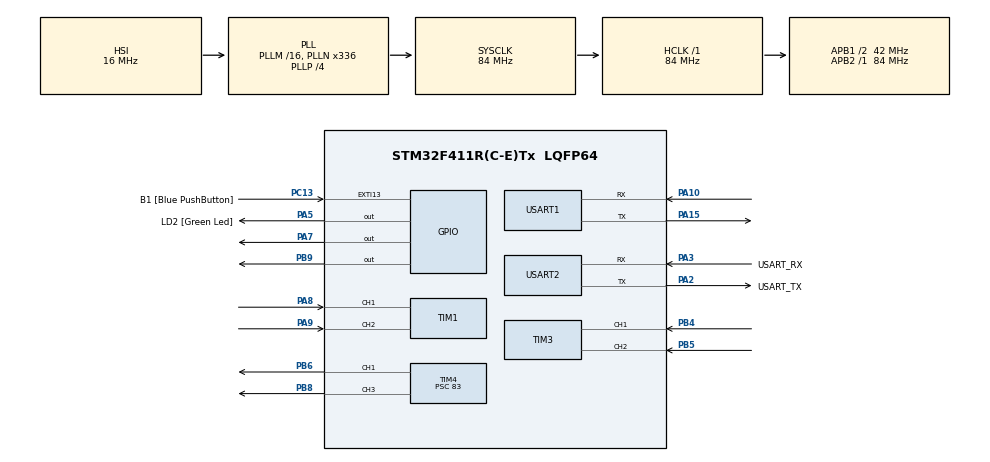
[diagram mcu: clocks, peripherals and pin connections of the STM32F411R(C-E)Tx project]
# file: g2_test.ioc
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Dma.Request0=USART1_RX
Dma.USART1_RX.0.Direction=DMA_PERIPH_TO_MEMORY
Dma.USART1_RX.0.FIFOMode=DMA_FIFOMODE_DISABLE
Dma.USART1_RX.0.Instance=DMA2_Stream2
Dma.USART1_RX.0.MemDataAlignment=DMA_MDATAALIGN_BYTE
Dma.USART1_RX.0.MemInc=DMA_MINC_ENABLE
Dma.USART1_RX.0.Mode=DMA_CIRCULAR
Dma.USART1_RX.0.PeriphDataAlignment=DMA_PDATAALIGN_BYTE
Dma.USART1_RX.0.PeriphInc=DMA_PINC_DISABLE
Dma.USART1_RX.0.Priority=DMA_PRIORITY_LOW
Mcu.Family=STM32F4
Mcu.Name=STM32F411R(C-E)Tx
Mcu.Package=LQFP64
NVIC.DMA2_Stream2_IRQn=true\:0\:0\:false\:false\:true\:false\:true\:true
NVIC.PriorityGroup=NVIC_PRIORITYGROUP_0
NVIC.USART1_IRQn=true\:0\:0\:false\:false\:true\:true\:true\:true
PA10.Mode=Asynchronous
PA10.Signal=USART1_RX
PA13.GPIO_Label=TMS
PA13.Mode=Serial_Wire
PA13.Signal=SYS_JTMS-SWDIO
PA14.GPIO_Label=TCK
PA14.Mode=Serial_Wire
PA14.Signal=SYS_JTCK-SWCLK
PA15.Mode=Asynchronous
PA15.Signal=USART1_TX
PA2.GPIO_Label=USART_TX
PA2.Mode=Asynchronous
PA2.Signal=USART2_TX
PA3.GPIO_Label=USART_RX
PA3.Mode=Asynchronous
PA3.Signal=USART2_RX
PA5.GPIO_Label=LD2 [Green Led]
PA5.Signal=GPIO_Output
PA7.Signal=GPIO_Output
PA8.Signal=S_TIM1_CH1
PA9.Signal=S_TIM1_CH2
PB3.GPIO_Label=SWO
PB3.Signal=SYS_JTDO-SWO
PB4.Signal=S_TIM3_CH1
PB5.Signal=S_TIM3_CH2
PB6.Signal=S_TIM4_CH1
PB8.Signal=S_TIM4_CH3
PB9.Signal=GPIO_Output
PC13-ANTI_TAMP.GPIO_Label=B1 [Blue PushButton]
PC13-ANTI_TAMP.GPIO_ModeDefaultEXTI=GPIO_MODE_IT_FALLING
PC13-ANTI_TAMP.Signal=GPXTI13
PC14-OSC32_IN.Mode=LSE-External-Oscillator
PC14-OSC32_IN.Signal=RCC_OSC32_IN
PC15-OSC32_OUT.Mode=LSE-External-Oscillator
PC15-OSC32_OUT.Signal=RCC_OSC32_OUT
PH0\ -\ OSC_IN.Mode=HSE-External-Oscillator
PH0\ -\ OSC_IN.Signal=RCC_OSC_IN
PH1\ -\ OSC_OUT.Mode=HSE-External-Oscillator
PH1\ -\ OSC_OUT.Signal=RCC_OSC_OUT
ProjectManager.HeapSize=0x200
ProjectManager.StackSize=0x400
ProjectManager.TargetToolchain=STM32CubeIDE
RCC.48MHZClocksFreq_Value=84000000
RCC.AHBFreq_Value=84000000
RCC.APB1CLKDivider=RCC_HCLK_DIV2
RCC.APB1Freq_Value=42000000
RCC.APB1TimFreq_Value=84000000
RCC.APB2Freq_Value=84000000
RCC.APB2TimFreq_Value=84000000
RCC.CortexFreq_Value=84000000
RCC.FLatency-AdvancedSettings=FLASH_LATENCY_2
RCC.HCLKFreq_Value=84000000
RCC.HSE_VALUE=8000000
RCC.HSI_VALUE=16000000
RCC.PLLN=336
RCC.PLLP=RCC_PLLP_DIV4
RCC.SYSCLKFreq_VALUE=84000000
RCC.SYSCLKSource=RCC_SYSCLKSOURCE_PLLCLK
RCC.VCOOutputFreq_Value=336000000
SH.S_TIM1_CH1.0=TIM1_CH1,Encoder_Interface
SH.S_TIM1_CH2.0=TIM1_CH2,Encoder_Interface
SH.S_TIM3_CH1.0=TIM3_CH1,Encoder_Interface
SH.S_TIM3_CH2.0=TIM3_CH2,Encoder_Interface
SH.S_TIM4_CH1.0=TIM4_CH1,PWM Generation1 CH1
SH.S_TIM4_CH3.0=TIM4_CH3,PWM Generation3 CH3
TIM1.EncoderMode=TIM_ENCODERMODE_TI12
TIM1.IC1Filter=10
TIM3.EncoderMode=TIM_ENCODERMODE_TI12
TIM3.IC1Filter=10
TIM4.Channel-PWM\ Generation1\ CH1=TIM_CHANNEL_1
TIM4.Channel-PWM\ Generation3\ CH3=TIM_CHANNEL_3
TIM4.Period=999
TIM4.Prescaler=83
USART1.VirtualMode=VM_ASYNC
USART2.VirtualMode=VM_ASYNC
board=NUCLEO-F411RE

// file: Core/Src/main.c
/* USER CODE BEGIN Header */
/**
  ******************************************************************************
  * @file           : main.c
  * @brief          : Main program body
  ******************************************************************************
  * @attention
  *
  * Copyright (c) 2025 STMicroelectronics.
  * All rights reserved.
  *
  * This software is licensed under terms that can be found in the LICENSE file
  * in the root directory of this software component.
  * If no LICENSE file comes with this software, it is provided AS-IS.
  *
  ******************************************************************************
  */
/* USER CODE END Header */
#include "main.h"
#include "dma.h"
#include "tim.h"
#include "usart.h"
#include "gpio.h"

/* USER CODE BEGIN Includes */
#include "ibus.h"
/* USER CODE END Includes */

/* USER CODE BEGIN PTD */
#define PID_RATE 30
#define PID_INTERVAL 1000/PID_RATE
unsigned long nextPID = PID_INTERVAL;
/* USER CODE END PTD */

/* USER CODE BEGIN PD */
uint32_t micros(void);
/* USER CODE END PD */

/* USER CODE BEGIN PM */
float kp = 1;//0.2;//10.0/28;
float kp2 = 1;//0.2;
float ki = 0;//0.0001125;
float ki2 = 0.0001125;
float ki_view = 0.0;
float ki_view2 = 0.0;
float left_u = 0.0;
float right_u = 0.0;
//float target = 0.0;
float error = 0.0;
float error2 = 0.0;
long current_time;
long previously_time;
int16_t delta_time;
float integer_error = 0;
float integer_error2 = 0;
float dt_view = 0.0;
/* USER CODE END PM */

/* USER CODE BEGIN PV */
uint16_t ibus_data[IBUS_USER_CHANNELS];
volatile int rx_count = 0;
/* USER CODE END PV */

void SystemClock_Config(void);

/* USER CODE BEGIN 0 */
void HAL_UART_RxCpltCallback(UART_HandleTypeDef *huart);
void set_motor(int left, int right);
/* USER CODE END 0 */

int main(void)
{

  /* USER CODE BEGIN 1 */
  int16_t sayim1;
  int16_t sayim2;
  int16_t sayim1_prev = 0;
  int16_t sayim2_prev = 0;
  int16_t sayim1_current = 0;
  int16_t sayim2_current = 0;
  uint32_t t1, t2, dt;
  /* USER CODE END 1 */

  /* MCU Configuration--------------------------------------------------------*/

  /* Reset of all peripherals, Initializes the Flash interface and the Systick. */
  HAL_Init();

  /* Configure the system clock */
  SystemClock_Config();

  /* Initialize all configured peripherals */
  MX_GPIO_Init();
  MX_DMA_Init();
  MX_USART2_UART_Init();
  MX_TIM4_Init();
  MX_USART1_UART_Init();
  MX_TIM1_Init();
  MX_TIM3_Init();
  /* USER CODE BEGIN 2 */
  HAL_TIM_PWM_Start(&htim4, TIM_CHANNEL_1);
  HAL_TIM_PWM_Start(&htim4, TIM_CHANNEL_3);
  HAL_TIM_Encoder_Start(&htim1, TIM_CHANNEL_ALL);
  HAL_TIM_Encoder_Start(&htim3, TIM_CHANNEL_ALL);
  __HAL_TIM_SET_COMPARE(&htim4, TIM_CHANNEL_1, 0);  // ENA (sol motor)
  __HAL_TIM_SET_COMPARE(&htim4, TIM_CHANNEL_3, 0);
  //set_motor(0, 0);

  HAL_Delay(1000);
  ibus_init();
  ibus_resync();
  uint8_t byte;
  // İlk byte 0x20 olana kadar oku
  while (ibus_data == 0)
  {
      MX_USART1_UART_Init();
      ibus_init();
          // İkinci byte 0x40 mı diye kontrol
      if (ibus_data[2] != 0)
      {
              break; // Senkron bulundu
      }

  }
  ibus_soft_failsafe(ibus_data, 10);
  //if (ibus_data[2] == 0) {ibus_init();}
  if (ibus_data[1] != 1500){ibus_data[1] = 1500;}
  if (ibus_data[3] != 1500){ibus_data[3] = 1500;}
  /* USER CODE END 2 */

  /* Infinite loop */
  while (1)
  {
    ibus_read(ibus_data);

    ibus_soft_failsafe(ibus_data, 10); // if ibus is not updated, clear ibus data.

    // 1. Joystick verisini oku (örnek: CH2 steering, CH3 throttle)
    int throttle = ibus_data[1] - 1500; // CH3: ileri/geri
    int steering = ibus_data[3] - 1500; // CH2: sağ/sol

    // Ölü bölge (joystick ortası) +50 sürücü kör bolge
    if (abs(throttle) < 10) throttle = 0;
    if (abs(steering) < 10) steering = 0;

    // 2. Diferansiyel motor hızlarını hesapla / hedefleri motor sürücüsüne uygun aralığa getirmelisin
    int left_target = 2*(throttle + steering);// kumanda 500 ila -500 değerleri veriyor - sürücü pwm değeri -+1000 değerleri arası hedef gerekiyor.
    int right_target = 2*(throttle - steering);// sayım hedefim 270 ila 50 arasıdır

    sayim1 = __HAL_TIM_GET_COUNTER(&htim1);
    sayim2 = __HAL_TIM_GET_COUNTER(&htim3);
    t1 = micros();

    dt = (uint32_t)(t1-t2);
    dt_view = (float)dt*1.0e-6;
    sayim1_current = sayim1 - sayim1_prev;
    sayim2_current = sayim2 - sayim2_prev;
    current_time = HAL_GetTick();
    //target = 220;

    error = (float)left_target - (float)sayim1_current;
    integer_error = integer_error + error*(float)dt_view;

    error2 = (float)right_target - sayim2_current;
    integer_error2 = integer_error2 + error2*(float)dt_view;
    //u = kp*target;
    ki_view = ki*integer_error;
    left_u = kp*error + ki*integer_error;

    ki_view2 = ki2*integer_error2;
    right_u = kp2*error2 + ki2*integer_error2;

    //printf("Enkoder 1 Sayisi: %d\r\n", sayim1_current);
    //printf("Enkoder 2 Sayisi: %d\r\n", sayim2);
    //HAL_Delay(100);
    //HAL_GPIO_WritePin(GPIOA,GPIO_PIN_6, GPIO_PIN_SET);
    //HAL_GPIO_WritePin(GPIOA,GPIO_PIN_7, GPIO_PIN_RESET);
    //__HAL_TIM_SET_COMPARE(&htim4, TIM_CHANNEL_1,(int16_t)u);
    sayim1_prev = sayim1;
    sayim2_prev = sayim2;
    t2 = t1;

    // 3. Motorları sür
    set_motor(left_u, right_u);
    //HAL_Delay(10);
    HAL_Delay(PID_INTERVAL);
  }
}

void SystemClock_Config(void)
{
  RCC_OscInitTypeDef RCC_OscInitStruct = {0};
  RCC_ClkInitTypeDef RCC_ClkInitStruct = {0};

  /** Configure the main internal regulator output voltage
  */
  __HAL_RCC_PWR_CLK_ENABLE();
  __HAL_PWR_VOLTAGESCALING_CONFIG(PWR_REGULATOR_VOLTAGE_SCALE1);

  /** Initializes the RCC Oscillators according to the specified parameters
  * in the RCC_OscInitTypeDef structure.
  */
  RCC_OscInitStruct.OscillatorType = RCC_OSCILLATORTYPE_HSI;
  RCC_OscInitStruct.HSIState = RCC_HSI_ON;
  RCC_OscInitStruct.HSICalibrationValue = RCC_HSICALIBRATION_DEFAULT;
  RCC_OscInitStruct.PLL.PLLState = RCC_PLL_ON;
  RCC_OscInitStruct.PLL.PLLSource = RCC_PLLSOURCE_HSI;
  RCC_OscInitStruct.PLL.PLLM = 16;
  RCC_OscInitStruct.PLL.PLLN = 336;
  RCC_OscInitStruct.PLL.PLLP = RCC_PLLP_DIV4;
  RCC_OscInitStruct.PLL.PLLQ = 4;
  if (HAL_RCC_OscConfig(&RCC_OscInitStruct) != HAL_OK)
  {
    Error_Handler();
  }

  /** Initializes the CPU, AHB and APB buses clocks
  */
  RCC_ClkInitStruct.ClockType = RCC_CLOCKTYPE_HCLK|RCC_CLOCKTYPE_SYSCLK
                              |RCC_CLOCKTYPE_PCLK1|RCC_CLOCKTYPE_PCLK2;
  RCC_ClkInitStruct.SYSCLKSource = RCC_SYSCLKSOURCE_PLLCLK;
  RCC_ClkInitStruct.AHBCLKDivider = RCC_SYSCLK_DIV1;
  RCC_ClkInitStruct.APB1CLKDivider = RCC_HCLK_DIV2;
  RCC_ClkInitStruct.APB2CLKDivider = RCC_HCLK_DIV1;

  if (HAL_RCC_ClockConfig(&RCC_ClkInitStruct, FLASH_LATENCY_2) != HAL_OK)
  {
    Error_Handler();
  }
}

/* USER CODE BEGIN 4 */
int _write(int file, char *ptr, int len)
{
    HAL_UART_Transmit(&huart2, (uint8_t*) ptr, len, HAL_MAX_DELAY);
    return len;
}

void DWT_Init(void)
{
    CoreDebug->DEMCR |= CoreDebug_DEMCR_TRCENA_Msk; // DWT aktif et
    DWT->CYCCNT = 0;                                // Sayaç sıfırla
    DWT->CTRL |= DWT_CTRL_CYCCNTENA_Msk;            // Sayaç başlat
}

uint32_t micros(void)
{
    return (uint32_t)(DWT->CYCCNT / (SystemCoreClock / 1000000));
}
void HAL_UART_RxCpltCallback(UART_HandleTypeDef *huart)
{
  //rx_count++;
  if(huart == IBUS_UART)
    ibus_reset_failsafe();

  ibus_init();

}
void set_motor(int left, int right)
{
    // Limit PWM değerlerini (örnek: -1000 ile 1000 arası)
    if (left > 1000) left = 1000;
    if (left < -1000) left = -1000;
    if (right > 1000) right = 1000;
    if (right < -1000) right = -1000;

    // Sol motor yön
    if (left >= 0)
    {
        //HAL_GPIO_WritePin(GPIOA, GPIO_PIN_6, GPIO_PIN_SET);   // IN1
        HAL_GPIO_WritePin(GPIOA, GPIO_PIN_7, GPIO_PIN_SET); // IN2
    }
    else
    {
        //HAL_GPIO_WritePin(GPIOA, GPIO_PIN_6, GPIO_PIN_RESET);
        HAL_GPIO_WritePin(GPIOA, GPIO_PIN_7, GPIO_PIN_RESET);
        left = -left;
    }

    // Sağ motor yön
    if (right >= 0)
    {
        HAL_GPIO_WritePin(GPIOB, GPIO_PIN_9, GPIO_PIN_SET);   // IN3
        //HAL_GPIO_WritePin(GPIOA, GPIO_PIN_5, GPIO_PIN_RESET); // IN4
    }
    else
    {
        HAL_GPIO_WritePin(GPIOB, GPIO_PIN_9, GPIO_PIN_RESET);
        //HAL_GPIO_WritePin(GPIOA, GPIO_PIN_5, GPIO_PIN_SET);
        right = -right;
    }

    // PWM ayarla (örnek: TIM2, TIM_CHANNEL_1 ve 2 kullanılıyor)
    __HAL_TIM_SET_COMPARE(&htim4, TIM_CHANNEL_1, left);  // ENA (sol motor)
    __HAL_TIM_SET_COMPARE(&htim4, TIM_CHANNEL_3, right); // ENB (sağ motor)
}
/* USER CODE END 4 */

void Error_Handler(void)
{
  __disable_irq();
  while (1)
  {
  }
}
